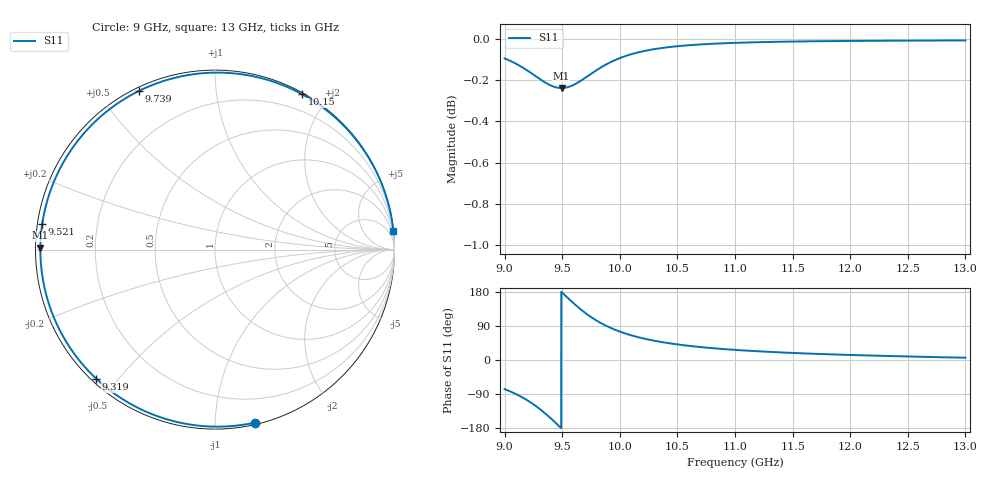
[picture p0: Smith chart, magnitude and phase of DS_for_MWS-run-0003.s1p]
! TOUCHSTONE file generated by CST DESIGN STUDIO
! Date and time: Tue Feb  4 13:00:57 2025
! Project name: C:\Work\MatlabApps\UnitCellOptimizationMatlab\CST\unitcell.cst
! Tree item: Tasks\Sweep1\SPara1\S-Parameters
! Header version: 2024
! Port assignment regex: !\s*Touchstone port\s*([0-9]+)\s*=\s*(CST MWS port|CST DES external port|CST DES block port)\s*(.+)\s* \(\"(.*)\"\)(\s*mode\s*([0-9]+))?.*
! Touchstone port assignment:
! Touchstone port 1 = CST DES external port 1 ("")
# GHz S MA R 50
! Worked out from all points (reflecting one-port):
!   4001 points, 9 GHz to 13 GHz, reference 50 ohm
!   lowest |S11| = -0.2 dB at 9.494 GHz (marker M1), VSWR 73.16, Z = 0.683 + j0.27 ohm
!   phase of S11 starts at -77 deg and turns -277 deg over the sweep
!   S11 on the Smith chart (normalised r, x): 9 GHz: 0.01, -1.26; 9.319 GHz: 0.01, -0.44; 9.521 GHz: 0.01, +0.07; 9.739 GHz: 0.01, +0.63; 10.15 GHz: 0.01, +1.71; 13 GHz: 0, +19
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9  0.9893 -77.0
9.082  0.9869 -87.4
9.183  0.9832 -103.7
9.254  0.9802 -117.7
9.319  0.9774 -132.6
9.365  0.9756 -144.3
9.414  0.9741 -157.6
9.455  0.9733 -169.3
9.494  0.973 179.4
9.5  0.973 177.6
9.521  0.9731 171.5
9.574  0.9741 156.4
9.635  0.976 140.0
9.686  0.978 127.5
9.739  0.9803 115.7
9.792  0.9826 105.2
9.851  0.9849 95.0
9.925  0.9874 84.1
10  0.9895 75.0
10.154  0.9926 60.6
10.311  0.9946 50.2
10.5  0.9961 41.1
10.722  0.9972 33.5
11  0.998 26.7
11.5  0.9987 18.6
12  0.999 13.3
12.5  0.9992 9.3
13  0.9993 6.0
